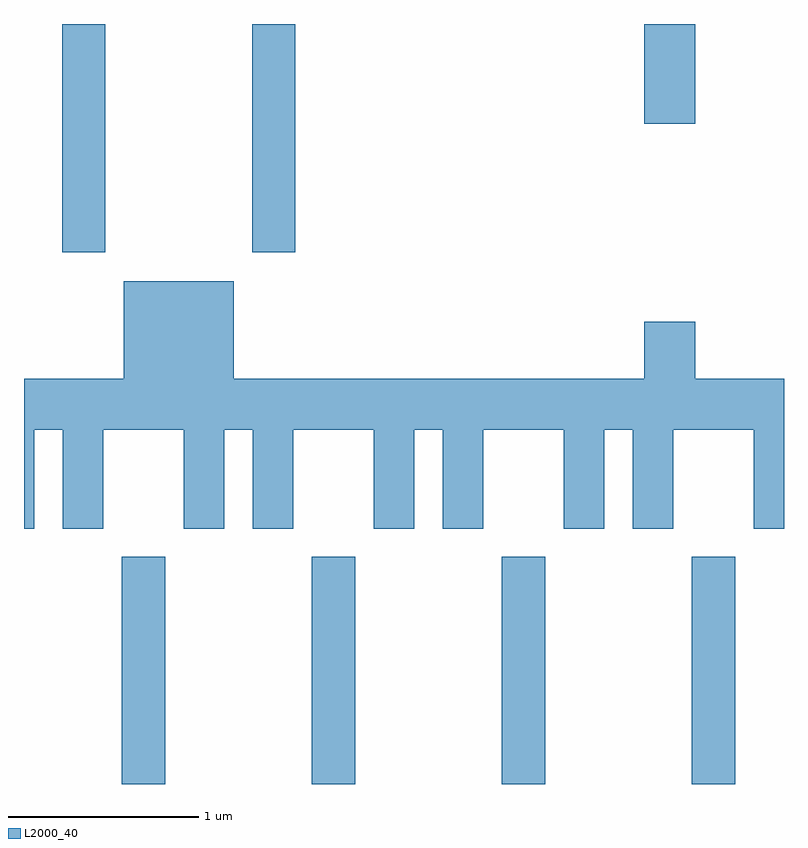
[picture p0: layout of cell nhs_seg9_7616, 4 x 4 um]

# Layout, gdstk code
import gdstk
lib = gdstk.Library(unit=1e-6, precision=1e-09)
def R(c, l, rs):  # rectangles x0, y0, x1, y1
    for r in rs: c.add(gdstk.rectangle(r[:2], r[2:], *l))
def A(c, l, x, y, w, h, nx, ny, dx, dy):  # array of equal rectangles
    R(c, l, [(x+i*dx, y+j*dy, x+i*dx+w, y+j*dy+h) for i in range(nx) for j in range(ny)])
def P(c, l, *ps):  # polygons
    for p in ps: c.add(gdstk.Polygon(p, *l))
L2000_40 = (2000, 40)

nhs_seg9_7616 = lib.new_cell('nhs_seg9_7616')
A(nhs_seg9_7616, L2000_40, 412.126, 1954.432, 0.228, 1.197, 4, 1, 1, 0)
R(nhs_seg9_7616, L2000_40, [(411.811,1957.231,412.039,1958.432), (412.811,1957.231,413.039,1958.432), (414.876,1957.906,415.144,1958.432)])
P(nhs_seg9_7616, L2000_40, [(411.664,1956.296),(411.816,1956.296),(411.816,1955.776),(412.029,1955.776),(412.029,1956.296),(412.451,1956.296),(412.451,1955.776),(412.664,1955.776),(412.664,1956.296),(412.816,1956.296),(412.816,1955.776),(413.029,1955.776),(413.029,1956.296),(413.451,1956.296),(413.451,1955.776),(413.664,1955.776),(413.664,1956.296),(413.816,1956.296),(413.816,1955.776),(414.029,1955.776),(414.029,1956.296),(414.451,1956.296),(414.451,1955.776),(414.664,1955.776),(414.664,1956.296),(414.816,1956.296),(414.816,1955.776),(415.029,1955.776),(415.029,1956.296),(415.451,1956.296),(415.451,1955.776),(415.611,1955.776),(415.611,1956.564),(415.144,1956.564),(415.144,1956.864),(414.876,1956.864),(414.876,1956.564),(412.714,1956.564),(412.714,1957.079),(412.136,1957.079),(412.136,1956.564),(411.611,1956.564),(411.611,1955.776),(411.664,1955.776)])

lib.write_gds('nhs_seg9_7616.gds')
